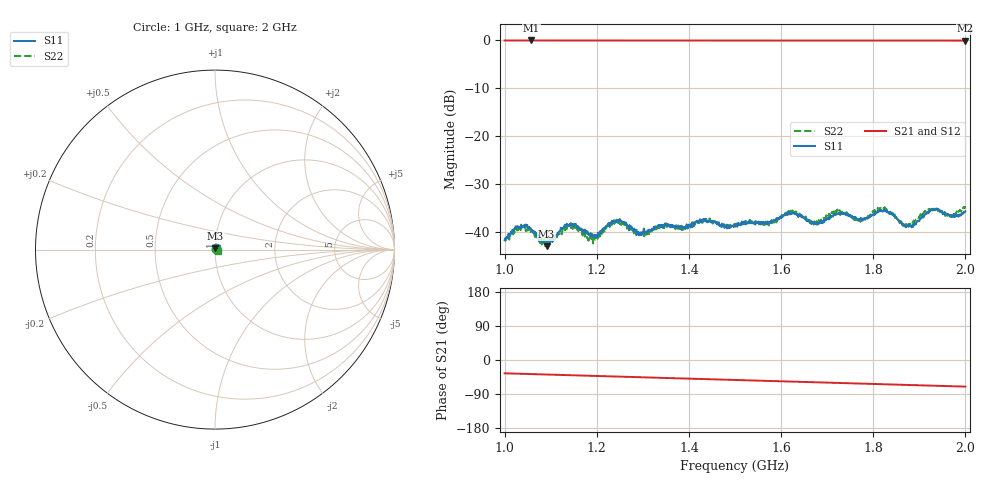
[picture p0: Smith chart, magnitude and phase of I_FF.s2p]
#  HZ  S  DB  R  50.00
! Rohde & Schwarz Vector Network Analyzer
! Rohde-Schwarz,ZNB8-4Port,1311601044102961,2.82
! Created: UTC 3/4/2022, 3:56:00 PM
! freq[Hz]  db:S11  ang:S11  db:S21  ang:S21  db:S12  ang:S12  db:S22  ang:S22
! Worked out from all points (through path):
!   1001 points, 1 GHz to 2 GHz, reference 50 ohm
!   highest |S21| = -0.04 dB at 1.058 GHz (marker M1); lowest = -0.1 dB at 2 GHz (marker M2)
!   group delay of S21, straight-line fit = 97.5 ps
!   lowest |S11| = -42.9 dB at 1.091 GHz (marker M3), VSWR 1.01, Z = 50.2 + j0.674 ohm
!   |S11| at or under -10 dB: start of sweep to end of sweep
!   |S22| runs from -42.9 to -34.6 dB; largest |S21 - S12| = 0.0023
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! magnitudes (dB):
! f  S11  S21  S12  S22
! 1 GHz  -41.7  0.0  0.0  -41.6
! 1.028 GHz  -39.1  0.0  0.0  -39.2
! 1.058 GHz  -39.7  0.0  0.0  -39.6
! 1.091 GHz  -42.9  0.0  0.0  -42.5
! 1.134 GHz  -38.8  -0.1  0.0  -38.8
! 1.167 GHz  -39.8  0.0  0.0  -39.9
! 1.194 GHz  -40.7  0.0  0.0  -41.5
! 1.244 GHz  -38.0  -0.1  0.0  -37.8
! 1.292 GHz  -40.7  0.0  0.0  -40.3
! 1.334 GHz  -38.6  -0.1  0.0  -39.0
! 1.442 GHz  -37.8  -0.1  0.0  -37.8
! 1.5 GHz  -38.6  0.0  0.0  -38.7
! 1.572 GHz  -37.9  0.0  0.0  -38.1
! 1.621 GHz  -36.0  -0.1  0.0  -35.8
! 1.667 GHz  -37.8  -0.1  0.0  -38.0
! 1.723 GHz  -36.1  -0.1  -0.1  -35.8
! 1.768 GHz  -37.3  -0.1  -0.1  -37.5
! 1.834 GHz  -36.0  -0.1  -0.1  -35.6
! 1.87 GHz  -38.6  -0.1  -0.1  -38.9
! 1.927 GHz  -35.2  -0.1  -0.1  -35.2
! 1.968 GHz  -36.5  -0.1  -0.1  -36.5
! 2 GHz  -35.7  -0.1  -0.1  -34.6
